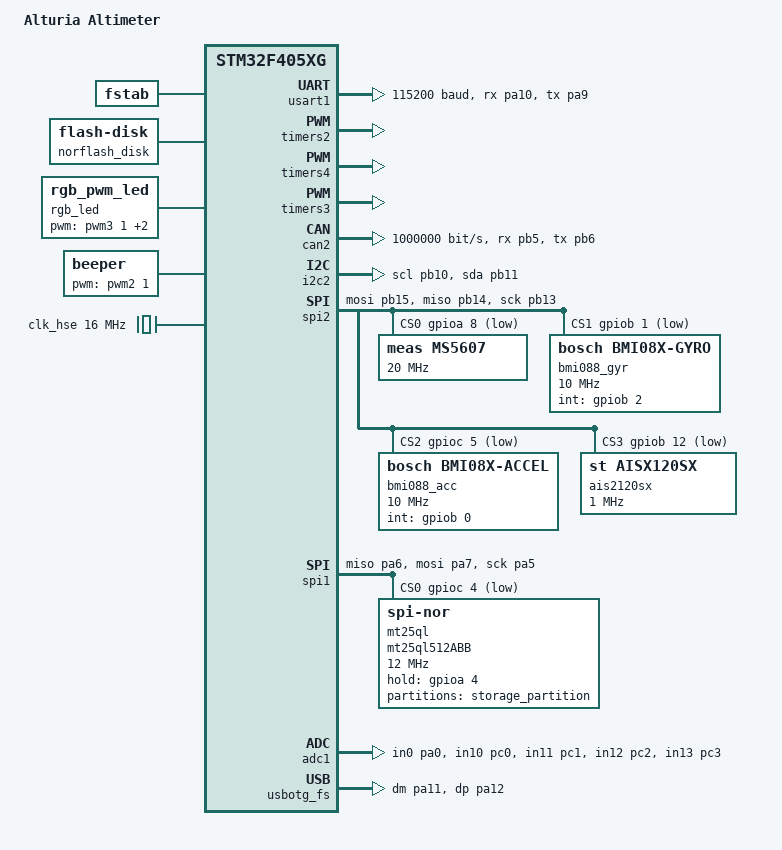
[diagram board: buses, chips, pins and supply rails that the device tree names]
/dts-v1/;
#include <st/f4/stm32f405Xg.dtsi>
#include <st/f4/stm32f405rgtx-pinctrl.dtsi>


/ {
	model = "Alturia Altimeter";
	compatible = "alturia_v1_2";

	chosen {
		zephyr,console = &usart1;
		zephyr,shell-uart = &usart1;
		//zephyr,shell-uart = &cdc_acm_uart0;
		zephyr,sram = &sram0;
		zephyr,flash = &flash0;
		zephyr,code-partition = &slot0_partition;
		zephyr,ccm = &ccm0;
	};

	aliases {
		pressure-sensor = &ms5607;
		acc-sensor = &bmi088_acc;
		gyro-sensor = &bmi088_gyr;
		highg-sensor = &ais2120sx;
		norflash = &mt25ql;
		led = &rgb_led;
	};

	fstab {
		compatible = "zephyr,fstab";
		lfs: lfs {
			compatible = "zephyr,fstab,littlefs";
			mount-point = "/lfs";
			partition = <&storage_partition>;
			automount;
			read-size = <16>;
			prog-size = <16>;
			cache-size = <64>;
			lookahead-size = <32>;
			block-cycles = <2048>;
		};
	};

	norflash_disk {
		compatible = "zephyr,flash-disk";
		partition = <&storage_partition>;
		disk-name = "NOR_FLASH";
		cache-size = <4096>;
	};

	rgb_led: rgb_led {
		compatible = "rgb_pwm_led";

		pwms = <&pwm3 1 100000 PWM_POLARITY_INVERTED>,
			   <&pwm3 2 100000 PWM_POLARITY_INVERTED>,
			   <&pwm3 3 100000 PWM_POLARITY_INVERTED>;

		pwm-names = "r", "g", "b";
	};

	pyros: pyros {
		compatible = "pyros";
		pyro1 {
			gpios = <&gpioa 2 0>;
		};
		pyro2 {
			gpios = <&gpioa 1 0>;
		};
		pyro3 {
			gpios = <&gpioc 14 0>;
		};
		pyro4 {
			gpios = <&gpioa 3 0>;
		};
	};

	beeper: beeper {
		compatible = "beeper";
		pwms = <&pwm2 1 50000000 PWM_POLARITY_NORMAL>;
	};

	servos: servos {
		compatible = "servos";
		servo1 {
			pwms = <&pwm4 3 5000000 PWM_POLARITY_NORMAL>;
		};
		servo2 {
			pwms = <&pwm4 4 5000000 PWM_POLARITY_NORMAL>;
		};
	};
};

&flash0 {
	partitions {
		compatible = "fixed-partitions";
		#address-cells = <0x1>;
		#size-cells = <0x1>;
		
		boot_partition: partition@0{
			reg = <0x0 0x00010000>;
		};
		slot0_partition: partition@10000 {
			reg = <0x00010000 0xF0000>;
		};
	};
};

&clk_hse	{
	clock-frequency = <DT_FREQ_M(16)>;
	status = "okay";
};

&pll	{
	div-m = <16>;
	mul-n = <336>;
	div-p = <2>;
	div-q = <7>;
	clocks =<&clk_hse>;
	status = "okay";
};

&rcc	{
	clocks = <&pll>;
	clock-frequency = <DT_FREQ_M(168)>;
	ahb-prescaler = <1>;
	apb1-prescaler = <4>;
	apb2-prescaler = <2>;
};

&usart1 {
	pinctrl-0 = <&usart1_rx_pa10 &usart1_tx_pa9>;
	pinctrl-names = "default";
	current-speed = <115200>;
	status = "okay";
};

&timers2 {
	status = "okay";
	st,prescaler = <100>;
	pwm2: pwm {
		pinctrl-0 = <&tim2_ch1_pa15>;
		pinctrl-names = "default";
		status = "okay";
	};
};

&timers4 {
	status = "okay";
	st,prescaler = <100>;
	pwm4: pwm {
		pinctrl-0 = <&tim4_ch3_pb8 &tim4_ch4_pb9>;
		pinctrl-names = "default";
		status = "okay";
	};
};

&timers3 {
	status = "okay";
	st,prescaler = <100>;
	pwm3: pwm {
		pinctrl-0 = <&tim3_ch1_pc6 &tim3_ch2_pc7 &tim3_ch3_pc8>;
		pinctrl-names = "default";
		status = "okay";
	};
};

&can2 {
	pinctrl-0 = <&can2_rx_pb5 &can2_tx_pb6>;
	pinctrl-names = "default";
	bus-speed = <1000000>;
	sjw = <1>;
	status = "okay";
};

&i2c2 {
	status = "okay";
	pinctrl-0 = <&i2c2_scl_pb10 &i2c2_sda_pb11>;
	pinctrl-names = "default";
};

&spi2 {
	status = "okay";
	pinctrl-0 = <&spi2_mosi_pb15 &spi2_miso_pb14 &spi2_sck_pb13>;
	pinctrl-names = "default";
	cs-gpios = <&gpioa 8 (GPIO_ACTIVE_LOW)>,
		   <&gpiob 1 (GPIO_ACTIVE_LOW)>,
		   <&gpioc 5 (GPIO_ACTIVE_LOW)>,
		   <&gpiob 12 (GPIO_ACTIVE_LOW)>;
	ms5607: ms5607@0 {
		status = "okay";
		compatible = "meas,ms5607";
		reg = <0>;
		spi-max-frequency = <20000000>;
	};
	bmi088_gyr: bmi088_gyr@1 {
		status = "okay";
		compatible = "bosch,bmi08x-gyro";
		reg = <1>;
		gyro-hz = "1000_116";
		gyro-fs = <2000>;
		int-gpios = <&gpiob 2 (GPIO_ACTIVE_HIGH)>;
		int3-4-map-io = <0x01>;
		int3-4-conf-io = <0x01>;
		spi-max-frequency = <10000000>;
	};
	bmi088_acc: bmi088_acc@2 {
		status = "okay";
		compatible = "bosch,bmi08x-accel";
		reg = <2>;
		int-gpios = <&gpiob 0 (GPIO_ACTIVE_HIGH)>;
		int1-map-io = <0x01>;
		int2-map-io = <0x00>;
		int1-conf-io = <0x05>;
		int2-conf-io = <0x00>;
		accel-hz = "200";
		accel-fs = <24>;
		spi-max-frequency = <10000000>;
	};
	ais2120sx: ais2120sx@3 {
		status = "okay";
		compatible ="st,aisx120sx";
		reg = <3>;
		spi-max-frequency = <1000000>;
	};
};

&spi1 {
	pinctrl-0 = <&spi1_miso_pa6 &spi1_mosi_pa7 &spi1_sck_pa5>;
	pinctrl-names = "default";
	status = "okay";
	cs-gpios = <&gpioc 4 (GPIO_ACTIVE_LOW)>;
	mt25ql: mt25ql512ABB@0 {
		status = "okay";
		compatible = "jedec,spi-nor";
		reg = <0>;
		spi-max-frequency = <12000000>;
		jedec-id = [20 BA 20];
		size = <536870912>;
		sfdp-bfp = [
			e5 20 fb ff  ff ff ff 1f  29 eb 27 6b  27 3b 27 bb
			ff ff ff ff  ff ff 27 bb  ff ff 29 eb  0c 20 10 d8
			0f 52 00 00  24 4a 99 00  8b 8e 03 e1  ac 01 27 38
			7a 75 7a 75  fb bd d5 5c  4a 0f 82 ff  81 bd 3d 36
			];

		hold-gpios = <&gpioa 4 0>;
	};
};

&mt25ql {
	partitions {
		compatible = "fixed-partitions";
		#address-cells = <1>;
		#size-cells = <1>;
		storage_partition: partition@0 {
			reg = <0x00000 0x3D09000>;
		};
	};
};

&adc1 {
	status = "okay";
	pinctrl-0 = <&adc1_in0_pa0 &adc1_in10_pc0 &adc1_in11_pc1 &adc1_in12_pc2 &adc1_in13_pc3>;
	pinctrl-names = "default";
};

&usbotg_fs {
	pinctrl-0 = <&usb_otg_fs_dm_pa11 &usb_otg_fs_dp_pa12>;
	pinctrl-names = "default";
	status = "okay";

	cdc_acm_uart0: cdc_acm_uart0 {
             compatible = "zephyr,cdc-acm-uart";
     };
};
